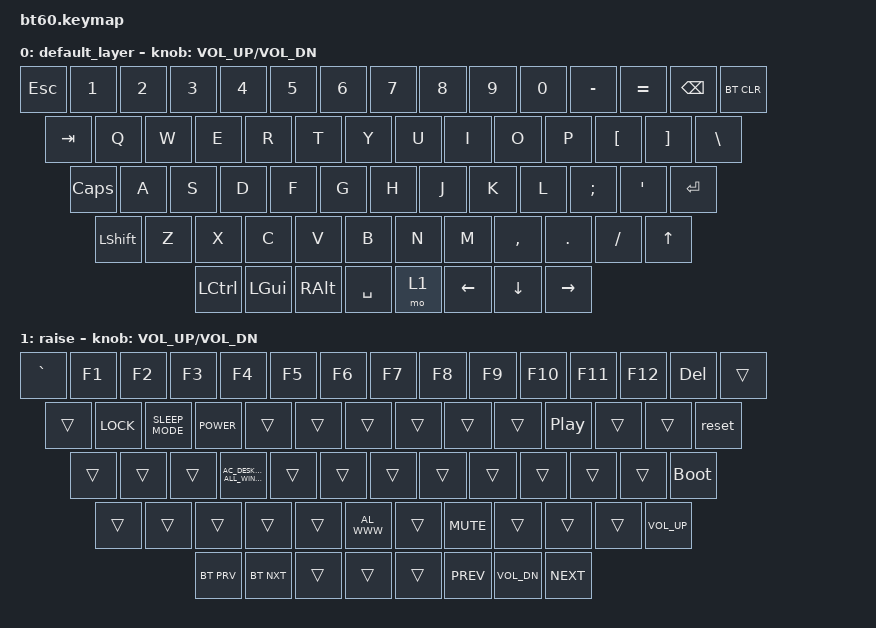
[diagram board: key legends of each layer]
#include <behaviors.dtsi>
#include <dt-bindings/zmk/keys.h>
#include <dt-bindings/zmk/bt.h>

/ {
	keymap {
		compatible = "zmk,keymap";

		default_layer {
				// ------------------------------------------------------------------------------------------
				// | ESC |  1  |  2  |  3  |  4  |  5  |  6  |  7  |  8  |  9  |  0  |  -  |  =  |   BKSP   | DEL
				// | TAB  |  Q  |  W  |  E  |  R  |  T  |  Y  |  U  |  I  |  O  |  P  |  [  |  ]  |   |    |
				// | CAPS  |  A  |  S  |  D  |  F  |  G  |  H  |  J  |  K  |  L  |  ;  |  '  |     ENTER    |
				// |  SHIFT    |  Z  |  X  |  C  |  V  |  B  |  N  |  M  |  ,  |  .  | /   |      SHIFT     |
				// |  CTL  |  WIN  |  ALT  |            SPACE               | ALT | 1    |  MENU    |  CTRL    |
				// ------------------------------------------------------------------------------------------
			bindings = <
				&kp ESC &kp N1 &kp N2 &kp N3 &kp N4 &kp N5 &kp N6 &kp N7 &kp  N8   &kp  N9 &kp  N0  &kp MINUS &kp EQUAL &kp BSPC &bt BT_CLR
				&kp TAB  &kp Q  &kp W  &kp E  &kp R  &kp T  &kp Y  &kp U  &kp  I    &kp  O  &kp  P   &kp LBKT &kp RBKT  &kp BSLH
				&kp CLCK  &kp A  &kp S  &kp D  &kp F  &kp G  &kp H  &kp J  &kp  K    &kp  L  &kp SEMI &kp SQT           &kp RET
				&kp LSHFT  &kp Z  &kp X  &kp C  &kp V  &kp B  &kp N  &kp M  &kp COMMA &kp DOT &kp FSLH             &kp UP
				&kp LCTRL &kp LGUI &kp RALT            &kp SPACE                          &mo 1 &kp LEFT  &kp DOWN &kp RIGHT
			>;
			sensor-bindings = <&inc_dec_kp C_VOL_UP C_VOL_DN>;
		};
		raise {
			bindings = <
				&kp GRAVE &kp F1 &kp F2 &kp F3 &kp F4 &kp F5 &kp F6 &kp F7 &kp  F8   &kp  F9 &kp  F10  &kp F11 &kp F12   &kp DEL &trans
				&trans &kp K_LOCK &kp C_SLEEP_MODE &kp C_POWER &trans &trans &trans &trans &trans &trans &kp C_PLAY_PAUSE &trans &trans &reset
				&trans    &trans &trans &kp C_AC_DESKTOP_SHOW_ALL_WINDOWS &trans &trans &trans &trans &trans &trans &trans  &trans   &bootloader
				&trans 		&trans &trans &trans &trans &kp C_AL_WWW &trans &kp C_MUTE &trans &trans &trans  &kp C_VOL_UP
				&bt BT_PRV &bt BT_NXT  &trans              &trans                            &trans   &kp C_PREV   &kp C_VOL_DN &kp C_NEXT
			>;
			sensor-bindings = <&inc_dec_kp C_VOL_UP C_VOL_DN>;
		};
	};
};

